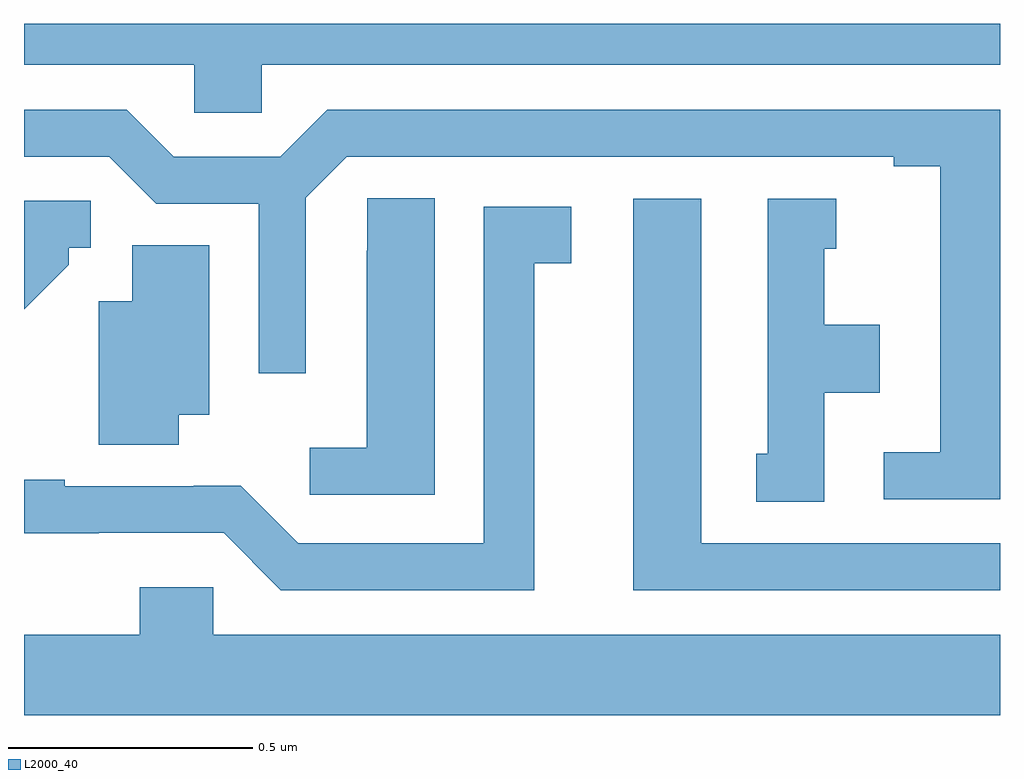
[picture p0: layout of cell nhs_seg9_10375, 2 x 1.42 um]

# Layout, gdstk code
import gdstk
lib = gdstk.Library(unit=1e-6, precision=1e-09)
def P(c, l, *ps):  # polygons
    for p in ps: c.add(gdstk.Polygon(p, *l))
L2000_40 = (2000, 40)

nhs_seg9_10375 = lib.new_cell('nhs_seg9_10375')
P(nhs_seg9_10375, L2000_40, [(242.487,1200.416),(244,1200.416),(244,1200.5),(242,1200.5),(242,1200.416),(242.349,1200.416),(242.349,1200.318),(242.487,1200.318)],
  [(244,1200.324),(242.621,1200.324),(242.525,1200.228),(242.307,1200.228),(242.211,1200.324),(242,1200.324),(242,1200.228),(242.175,1200.228),(242.271,1200.132),(242.481,1200.132),(242.481,1199.784),(242.577,1199.784),(242.577,1200.144),(242.661,1200.228),(243.782,1200.228),(243.782,1200.208),(243.878,1200.208),(243.878,1199.622),(243.762,1199.622),(243.762,1199.526),(244,1199.526)],
  [(242.842,1200.143),(242.703,1200.143),(242.703,1200.035),(242.702,1200.035),(242.702,1199.632),(242.586,1199.632),(242.586,1199.535),(242.842,1199.535)],
  [(244,1199.436),(243.388,1199.436),(243.388,1200.142),(243.248,1200.142),(243.248,1199.34),(244,1199.34)],
  [(243.64,1199.744),(243.754,1199.744),(243.754,1199.884),(243.64,1199.884),(243.64,1200.039),(243.664,1200.039),(243.664,1200.142),(243.524,1200.142),(243.524,1199.619),(243.5,1199.619),(243.5,1199.521),(243.64,1199.521)],
  [(242.092,1200.007),(242.092,1200.042),(242.137,1200.042),(242.137,1200.138),(242,1200.138),(242,1199.915)],
  [(243.046,1200.01),(243.121,1200.01),(243.121,1200.126),(242.942,1200.126),(242.942,1199.436),(242.562,1199.436),(242.444,1199.554),(242.348,1199.554),(242.348,1199.553),(242.083,1199.553),(242.083,1199.566),(242,1199.566),(242,1199.456),(242.153,1199.456),(242.153,1199.457),(242.409,1199.457),(242.526,1199.34),(243.046,1199.34)],
  [(242.317,1199.699),(242.38,1199.699),(242.38,1200.047),(242.222,1200.047),(242.222,1199.932),(242.153,1199.932),(242.153,1199.638),(242.317,1199.638)],
  [(244,1199.248),(242.388,1199.248),(242.388,1199.346),(242.237,1199.346),(242.237,1199.248),(242,1199.248),(242,1199.084),(244,1199.084)])

lib.write_gds('nhs_seg9_10375.gds')
